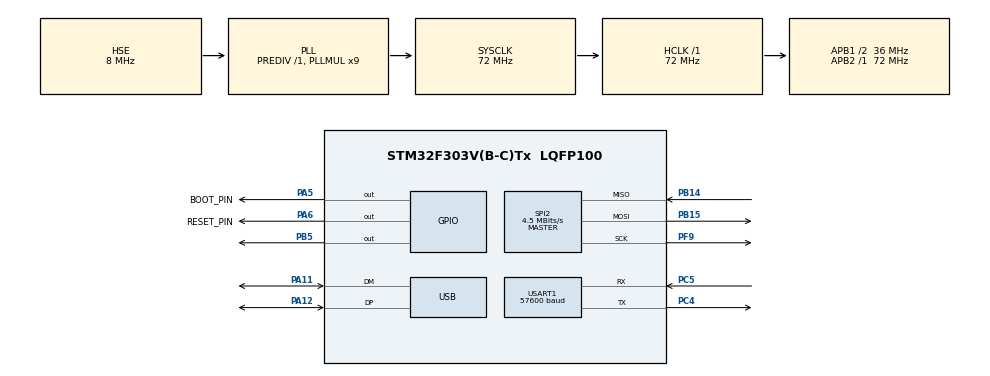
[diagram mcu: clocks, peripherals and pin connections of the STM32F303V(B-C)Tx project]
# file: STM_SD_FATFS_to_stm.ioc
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Mcu.Family=STM32F3
Mcu.Name=STM32F303V(B-C)Tx
Mcu.Package=LQFP100
NVIC.PriorityGroup=NVIC_PRIORITYGROUP_4
NVIC.USART1_IRQn=true\:0\:0\:false\:false\:true\:true
NVIC.USB_LP_CAN_RX0_IRQn=true\:0\:0\:false\:false\:true\:false
PA11.Mode=Device
PA11.Signal=USB_DM
PA12.Mode=Device
PA12.Signal=USB_DP
PA13.Mode=Serial_Wire
PA13.Signal=SYS_JTMS-SWDIO
PA14.Mode=Serial_Wire
PA14.Signal=SYS_JTCK-SWCLK
PA5.GPIO_Label=BOOT_PIN
PA5.Signal=GPIO_Output
PA6.GPIO_Label=RESET_PIN
PA6.Signal=GPIO_Output
PB14.Mode=Full_Duplex_Master
PB14.Signal=SPI2_MISO
PB15.Mode=Full_Duplex_Master
PB15.Signal=SPI2_MOSI
PB5.Signal=GPIO_Output
PC4.Mode=Asynchronous
PC4.Signal=USART1_TX
PC5.Mode=Asynchronous
PC5.Signal=USART1_RX
PF0-OSC_IN.Mode=HSE-External-Clock-Source
PF0-OSC_IN.Signal=RCC_OSC_IN
PF9.Mode=Full_Duplex_Master
PF9.Signal=SPI2_SCK
ProjectManager.HeapSize=0x200
ProjectManager.StackSize=0x400
ProjectManager.TargetToolchain=TrueSTUDIO
RCC.AHBFreq_Value=72000000
RCC.APB1CLKDivider=RCC_HCLK_DIV2
RCC.APB1Freq_Value=36000000
RCC.APB1TimFreq_Value=72000000
RCC.APB2Freq_Value=72000000
RCC.APB2TimFreq_Value=72000000
RCC.CortexFreq_Value=72000000
RCC.HCLKFreq_Value=72000000
RCC.HSE_VALUE=8000000
RCC.HSI_VALUE=8000000
RCC.LSE_VALUE=32768
RCC.PLLMUL=RCC_PLL_MUL9
RCC.PRESCALERUSB=RCC_USBCLKSOURCE_PLL_DIV1_5
RCC.SYSCLKFreq_VALUE=72000000
RCC.SYSCLKSourceVirtual=RCC_SYSCLKSOURCE_PLLCLK
RCC.USBFreq_Value=48000000
SPI2.BaudRatePrescaler=SPI_BAUDRATEPRESCALER_8
SPI2.CalculateBaudRate=4.5 MBits/s
SPI2.DataSize=SPI_DATASIZE_8BIT
SPI2.Direction=SPI_DIRECTION_2LINES
SPI2.Mode=SPI_MODE_MASTER
SPI2.VirtualType=VM_MASTER
USART1.BaudRate=57600
USART1.Parity=PARITY_EVEN
USART1.VirtualMode-Asynchronous=VM_ASYNC
USART1.WordLength=WORDLENGTH_9B
USB_DEVICE.CLASS_NAME_FS=CDC
USB_DEVICE.VirtualMode=Cdc
USB_DEVICE.VirtualModeFS=Cdc_FS
VP_FATFS_VS_Generic.Mode=User_defined
VP_USB_DEVICE_VS_USB_DEVICE_CDC_FS.Mode=CDC_FS
board=custom

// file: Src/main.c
/* USER CODE BEGIN Header */
/**
  ******************************************************************************
  * @file           : main.c
  * @brief          : Main program body
  ******************************************************************************
  * This notice applies to any and all portions of this file
  * that are not between comment pairs USER CODE BEGIN and
  * USER CODE END. Other portions of this file, whether
  * inserted by the user or by software development tools
  * are owned by their respective copyright owners.
  *
  * Copyright (c) 2019 STMicroelectronics International N.V.
  * All rights reserved.
  *
  * Redistribution and use in source and binary forms, with or without
  * modification, are permitted, provided that the following conditions are met:
  *
  * 1. Redistribution of source code must retain the above copyright notice,
  *    this list of conditions and the following disclaimer.
  * 2. Redistributions in binary form must reproduce the above copyright notice,
  *    this list of conditions and the following disclaimer in the documentation
  *    and/or other materials provided with the distribution.
  * 3. Neither the name of STMicroelectronics nor the names of other
  *    contributors to this software may be used to endorse or promote products
  *    derived from this software without specific written permission.
  * 4. This software, including modifications and/or derivative works of this
  *    software, must execute solely and exclusively on microcontroller or
  *    microprocessor devices manufactured by or for STMicroelectronics.
  * 5. Redistribution and use of this software other than as permitted under
  *    this license is void and will automatically terminate your rights under
  *    this license.
  *
  * THIS SOFTWARE IS PROVIDED BY STMICROELECTRONICS AND CONTRIBUTORS "AS IS"
  * AND ANY EXPRESS, IMPLIED OR STATUTORY WARRANTIES, INCLUDING, BUT NOT
  * LIMITED TO, THE IMPLIED WARRANTIES OF MERCHANTABILITY, FITNESS FOR A
  * PARTICULAR PURPOSE AND NON-INFRINGEMENT OF THIRD PARTY INTELLECTUAL PROPERTY
  * RIGHTS ARE DISCLAIMED TO THE FULLEST EXTENT PERMITTED BY LAW. IN NO EVENT
  * SHALL STMICROELECTRONICS OR CONTRIBUTORS BE LIABLE FOR ANY DIRECT, INDIRECT,
  * INCIDENTAL, SPECIAL, EXEMPLARY, OR CONSEQUENTIAL DAMAGES (INCLUDING, BUT NOT
  * LIMITED TO, PROCUREMENT OF SUBSTITUTE GOODS OR SERVICES; LOSS OF USE, DATA,
  * OR PROFITS; OR BUSINESS INTERRUPTION) HOWEVER CAUSED AND ON ANY THEORY OF
  * LIABILITY, WHETHER IN CONTRACT, STRICT LIABILITY, OR TORT (INCLUDING
  * NEGLIGENCE OR OTHERWISE) ARISING IN ANY WAY OUT OF THE USE OF THIS SOFTWARE,
  * EVEN IF ADVISED OF THE POSSIBILITY OF SUCH DAMAGE.
  *
  ******************************************************************************
  */
/* USER CODE END Header */

#include "main.h"
#include "fatfs.h"
#include "usb_device.h"

/* USER CODE BEGIN Includes */
#include "string.h"
#include "to_stm.h"
/* USER CODE END Includes */

SPI_HandleTypeDef hspi2;

UART_HandleTypeDef huart1;

/* USER CODE BEGIN PV */
extern USBD_HandleTypeDef hUsbDeviceFS;
char res;
volatile uint8_t flag = 0;
/* USER CODE END PV */

void SystemClock_Config(void);
static void MX_GPIO_Init(void);
static void MX_USART1_UART_Init(void);
static void MX_SPI2_Init(void);
/* USER CODE BEGIN PFP */
void USB_reset(void);
void init();
/* USER CODE END PFP */

/* USER CODE BEGIN 0 */
void USB_Receive_Callback(uint8_t* Buf)
{
	res = Buf[0];
	flag = 1;
}

/* USER CODE END 0 */

int main(void)
{

  /* MCU Configuration--------------------------------------------------------*/

  /* Reset of all peripherals, Initializes the Flash interface and the Systick. */
  HAL_Init();

  /* Configure the system clock */
  SystemClock_Config();

  /* Initialize all configured peripherals */
  MX_GPIO_Init();
  MX_USART1_UART_Init();
  MX_USB_DEVICE_Init();
  MX_FATFS_Init();
  MX_SPI2_Init();

  /* Infinite loop */
  /* USER CODE BEGIN WHILE */
  while (1)
  {
	  if(flag)
	  {
		  flag = 0;

		  /////////////// первый запрос для установки скорости (в ответ ждёт 0x79 - ACK-байт)///////////////
		  if(res == 'B') entr_bootloader();

		  ////////////////////////////////// boot_off_and_reset /////////////////////////////////////
		  else if(res == 'R') boot_off_and_reset();

		  ////////////////////////////////// Erase Memory /////////////////////////////////////
		  else if(res == 'E') erase_memory();

		  ///////////////////////////////////// Write_Memory ////////////////////////////////////////
		  else if(res == 'W') write_memory();

		  /////////////////////////////// Go Запуск программы //////////////////////////////////
		  else if(res == 'S') go_prog();

		  //////////////////////////////////////// Get ID //////////////////////////////////////////
		  else if(res == 'I') get_id();

		  //////////////////////////////////// Test SD-card ////////////////////////////////////////
		  else if(res == 'T') init();
	  }

    /* USER CODE END WHILE */

  }
}

void SystemClock_Config(void)
{
  RCC_OscInitTypeDef RCC_OscInitStruct = {0};
  RCC_ClkInitTypeDef RCC_ClkInitStruct = {0};
  RCC_PeriphCLKInitTypeDef PeriphClkInit = {0};

  /**Initializes the CPU, AHB and APB busses clocks
  */
  RCC_OscInitStruct.OscillatorType = RCC_OSCILLATORTYPE_HSE;
  RCC_OscInitStruct.HSEState = RCC_HSE_BYPASS;
  RCC_OscInitStruct.HSEPredivValue = RCC_HSE_PREDIV_DIV1;
  RCC_OscInitStruct.HSIState = RCC_HSI_ON;
  RCC_OscInitStruct.PLL.PLLState = RCC_PLL_ON;
  RCC_OscInitStruct.PLL.PLLSource = RCC_PLLSOURCE_HSE;
  RCC_OscInitStruct.PLL.PLLMUL = RCC_PLL_MUL9;
  if (HAL_RCC_OscConfig(&RCC_OscInitStruct) != HAL_OK)
  {
    Error_Handler();
  }
  /**Initializes the CPU, AHB and APB busses clocks
  */
  RCC_ClkInitStruct.ClockType = RCC_CLOCKTYPE_HCLK|RCC_CLOCKTYPE_SYSCLK
                              |RCC_CLOCKTYPE_PCLK1|RCC_CLOCKTYPE_PCLK2;
  RCC_ClkInitStruct.SYSCLKSource = RCC_SYSCLKSOURCE_PLLCLK;
  RCC_ClkInitStruct.AHBCLKDivider = RCC_SYSCLK_DIV1;
  RCC_ClkInitStruct.APB1CLKDivider = RCC_HCLK_DIV2;
  RCC_ClkInitStruct.APB2CLKDivider = RCC_HCLK_DIV1;

  if (HAL_RCC_ClockConfig(&RCC_ClkInitStruct, FLASH_LATENCY_2) != HAL_OK)
  {
    Error_Handler();
  }
  PeriphClkInit.PeriphClockSelection = RCC_PERIPHCLK_USB|RCC_PERIPHCLK_USART1;
  PeriphClkInit.Usart1ClockSelection = RCC_USART1CLKSOURCE_PCLK2;
  PeriphClkInit.USBClockSelection = RCC_USBCLKSOURCE_PLL_DIV1_5;
  if (HAL_RCCEx_PeriphCLKConfig(&PeriphClkInit) != HAL_OK)
  {
    Error_Handler();
  }
}

static void MX_SPI2_Init(void)
{

  /* SPI2 parameter configuration*/
  hspi2.Instance = SPI2;
  hspi2.Init.Mode = SPI_MODE_MASTER;
  hspi2.Init.Direction = SPI_DIRECTION_2LINES;
  hspi2.Init.DataSize = SPI_DATASIZE_8BIT;
  hspi2.Init.CLKPolarity = SPI_POLARITY_LOW;
  hspi2.Init.CLKPhase = SPI_PHASE_1EDGE;
  hspi2.Init.NSS = SPI_NSS_SOFT;
  hspi2.Init.BaudRatePrescaler = SPI_BAUDRATEPRESCALER_8;
  hspi2.Init.FirstBit = SPI_FIRSTBIT_MSB;
  hspi2.Init.TIMode = SPI_TIMODE_DISABLE;
  hspi2.Init.CRCCalculation = SPI_CRCCALCULATION_DISABLE;
  hspi2.Init.CRCPolynomial = 7;
  hspi2.Init.CRCLength = SPI_CRC_LENGTH_DATASIZE;
  hspi2.Init.NSSPMode = SPI_NSS_PULSE_ENABLE;
  if (HAL_SPI_Init(&hspi2) != HAL_OK)
  {
    Error_Handler();
  }

}

static void MX_USART1_UART_Init(void)
{

  huart1.Instance = USART1;
  huart1.Init.BaudRate = 57600;
  huart1.Init.WordLength = UART_WORDLENGTH_9B;
  huart1.Init.StopBits = UART_STOPBITS_1;
  huart1.Init.Parity = UART_PARITY_EVEN;
  huart1.Init.Mode = UART_MODE_TX_RX;
  huart1.Init.HwFlowCtl = UART_HWCONTROL_NONE;
  huart1.Init.OverSampling = UART_OVERSAMPLING_16;
  huart1.Init.OneBitSampling = UART_ONE_BIT_SAMPLE_DISABLE;
  huart1.AdvancedInit.AdvFeatureInit = UART_ADVFEATURE_NO_INIT;
  if (HAL_UART_Init(&huart1) != HAL_OK)
  {
    Error_Handler();
  }

}

static void MX_GPIO_Init(void)
{
  GPIO_InitTypeDef GPIO_InitStruct = {0};

  /* GPIO Ports Clock Enable */
  __HAL_RCC_GPIOF_CLK_ENABLE();
  __HAL_RCC_GPIOA_CLK_ENABLE();
  __HAL_RCC_GPIOC_CLK_ENABLE();
  __HAL_RCC_GPIOB_CLK_ENABLE();

  /*Configure GPIO pin Output Level */
  HAL_GPIO_WritePin(GPIOA, BOOT_PIN_Pin|RESET_PIN_Pin, GPIO_PIN_RESET);

  /*Configure GPIO pin Output Level */
  HAL_GPIO_WritePin(GPIOB, GPIO_PIN_5, GPIO_PIN_RESET);

  /*Configure GPIO pins : BOOT_PIN_Pin RESET_PIN_Pin */
  GPIO_InitStruct.Pin = BOOT_PIN_Pin|RESET_PIN_Pin;
  GPIO_InitStruct.Mode = GPIO_MODE_OUTPUT_PP;
  GPIO_InitStruct.Pull = GPIO_NOPULL;
  GPIO_InitStruct.Speed = GPIO_SPEED_FREQ_LOW;
  HAL_GPIO_Init(GPIOA, &GPIO_InitStruct);

  /*Configure GPIO pin : PB5 */
  GPIO_InitStruct.Pin = GPIO_PIN_5;
  GPIO_InitStruct.Mode = GPIO_MODE_OUTPUT_PP;
  GPIO_InitStruct.Pull = GPIO_NOPULL;
  GPIO_InitStruct.Speed = GPIO_SPEED_FREQ_LOW;
  HAL_GPIO_Init(GPIOB, &GPIO_InitStruct);
  USB_reset();
}

/* USER CODE BEGIN 4 */
/*
 * Для плат не имеющих транзистора управляющего подтяжкой D+ читать здесь - https://stm32f.ru/index.php?topic=54.0
 *
 * Если перегенерировали проект в CubeMX В конец функции static void MX_GPIO_Init(void) добавьте USB_reset();
 *
 * */

void USB_reset(void)
{
	// инициализируем пин DP как выход
	GPIO_InitTypeDef GPIO_InitStruct = {0};
	GPIO_InitStruct.Pin = GPIO_PIN_12;
	GPIO_InitStruct.Mode = GPIO_MODE_OUTPUT_PP;
	GPIO_InitStruct.Speed = GPIO_SPEED_FREQ_LOW;
	HAL_GPIO_Init(GPIOA, &GPIO_InitStruct);
	HAL_GPIO_WritePin(GPIOA, GPIO_PIN_12, GPIO_PIN_RESET); // прижимаем DP к "земле"
	for(uint16_t i = 0; i < 2000; i++) {}; // немного ждём

	// переинициализируем пин для работы с USB
	GPIO_InitStruct.Mode = GPIO_MODE_INPUT;
	GPIO_InitStruct.Pull = GPIO_NOPULL;
	HAL_GPIO_Init(GPIOA, &GPIO_InitStruct);
	for(uint16_t i = 0; i < 2000; i++) {}; // немного ждём
}
/* USER CODE END 4 */

void Error_Handler(void)
{
}

/************************ (C) COPYRIGHT STMicroelectronics *****END OF FILE****/
